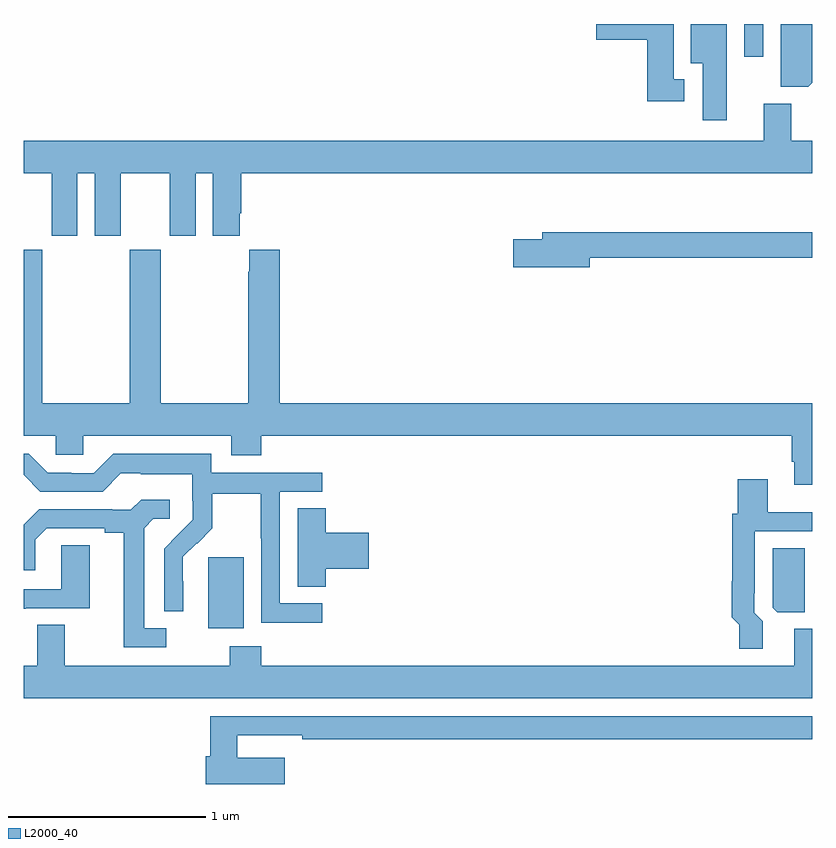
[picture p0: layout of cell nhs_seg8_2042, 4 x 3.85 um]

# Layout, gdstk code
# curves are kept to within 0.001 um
import gdstk
lib = gdstk.Library(unit=1e-6, precision=1e-09)
def R(c, l, rs):  # rectangles x0, y0, x1, y1
    for r in rs: c.add(gdstk.rectangle(r[:2], r[2:], *l))
def P(c, l, *ps):  # polygons
    for p in ps: c.add(gdstk.Polygon(p, *l))
L2000_40 = (2000, 40)

nhs_seg8_2042 = lib.new_cell('nhs_seg8_2042')
R(nhs_seg8_2042, L2000_40, [(239.936,1136.834,240.115,1137.195), (242.655,1139.733,242.751,1139.9)])
P(nhs_seg8_2042, L2000_40, [(242.566,1139.9),(242.384,1139.9),(242.384,1139.702),(242.444,1139.702),(242.444,1139.412),(242.566,1139.412)],
  [(242.35,1139.621),(242.296,1139.621),(242.296,1139.9),(241.905,1139.9),(241.905,1139.819),(242.162,1139.819),(242.162,1139.508),(242.35,1139.508)],
  [(243,1139.601),(243,1139.9),(242.841,1139.9),(242.841,1139.795),(242.84,1139.795),(242.84,1139.581),(242.979,1139.581)],
  [(239.272,1139.144),(239.36,1139.144),(239.36,1138.827),(239.491,1138.827),(239.491,1139.144),(239.741,1139.144),(239.741,1138.827),(239.872,1138.827),(239.872,1139.144),(239.96,1139.144),(239.96,1138.827),(240.097,1138.827),(240.097,1138.939),(240.104,1138.939),(240.104,1139.144),(243,1139.144),(243,1139.308),(242.893,1139.308),(242.893,1139.496),(242.753,1139.496),(242.753,1139.308),(239,1139.308),(239,1139.144),(239.141,1139.144),(239.141,1138.827),(239.272,1138.827)],
  [(241.87,1138.714),(243,1138.714),(243,1138.843),(241.631,1138.843),(241.631,1138.809),(241.482,1138.809),(241.482,1138.667),(241.87,1138.667)],
  [(243,1137.976),(240.299,1137.976),(240.299,1138.756),(240.143,1138.756),(240.143,1138.643),(240.139,1138.643),(240.139,1137.976),(239.694,1137.976),(239.694,1138.756),(239.539,1138.756),(239.539,1137.976),(239.094,1137.976),(239.094,1138.756),(239,1138.756),(239,1137.812),(239.163,1137.812),(239.163,1137.714),(239.301,1137.714),(239.301,1137.812),(240.053,1137.812),(240.053,1137.713),(240.206,1137.713),(240.206,1137.812),(242.897,1137.812),(242.897,1137.679),(242.909,1137.679),(242.909,1137.564),(243,1137.564)],
  [(240.514,1136.961),(240.3,1136.961),(240.3,1137.528),(240.514,1137.528),(240.514,1137.624),(239.952,1137.624),(239.952,1137.721),(239.455,1137.721),(239.355,1137.621),(239.24,1137.621),(239.24,1137.624),(239.121,1137.624),(239.025,1137.72),(239,1137.72),(239,1137.613),(239.085,1137.528),(239.4,1137.528),(239.493,1137.621),(239.593,1137.621),(239.593,1137.617),(239.856,1137.617),(239.856,1137.483),(239.858,1137.483),(239.858,1137.386),(239.712,1137.238),(239.712,1136.92),(239.808,1136.92),(239.807,1137.197),(239.877,1137.267),(239.88,1137.264),(239.957,1137.341),(239.957,1137.516),(240.202,1137.516),(240.202,1137.292),(240.204,1137.292),(240.204,1136.863),(240.514,1136.863)],
  [(242.749,1136.87),(242.706,1136.913),(242.706,1137.013),(242.709,1137.013),(242.709,1137.327),(243,1137.327),(243,1137.424),(242.773,1137.424),(242.773,1137.592),(242.621,1137.592),(242.621,1137.417),(242.593,1137.417),(242.593,1137.074),(242.591,1137.074),(242.591,1136.892),(242.629,1136.853),(242.629,1136.73),(242.749,1136.73)],
  [(239.722,1136.835),(239.611,1136.835),(239.611,1137.343),(239.658,1137.39),(239.74,1137.39),(239.74,1137.487),(239.596,1137.487),(239.544,1137.435),(239.45,1137.435),(239.45,1137.438),(239.078,1137.438),(239,1137.36),(239,1137.129),(239.059,1137.129),(239.059,1137.285),(239.116,1137.342),(239.411,1137.342),(239.411,1137.32),(239.507,1137.32),(239.507,1136.739),(239.722,1136.739)],
  [(240.533,1137.137),(240.751,1137.137),(240.751,1137.32),(240.533,1137.32),(240.533,1137.443),(240.389,1137.443),(240.389,1137.046),(240.533,1137.046)],
  [(239.011,1136.937),(239.335,1136.937),(239.335,1137.257),(239.19,1137.257),(239.19,1137.033),(239,1137.033),(239,1136.933),(239.011,1136.933)],
  [(242.962,1137.131),(242.961,1137.131),(242.961,1137.242),(242.799,1137.242),(242.799,1136.94),(242.823,1136.917),(242.962,1136.917)],
  [(243,1136.832),(242.909,1136.832),(242.909,1136.644),(240.206,1136.644),(240.206,1136.743),(240.046,1136.743),(240.046,1136.644),(239.209,1136.644),(239.209,1136.852),(239.069,1136.852),(239.069,1136.644),(239,1136.644),(239,1136.48),(243,1136.48)],
  [(240.325,1136.179),(240.083,1136.179),(240.083,1136.292),(240.412,1136.292),(240.412,1136.272),(243,1136.272),(243,1136.388),(239.947,1136.388),(239.947,1136.187),(239.924,1136.187),(239.924,1136.045),(240.325,1136.045)])

lib.write_gds('nhs_seg8_2042.gds')
